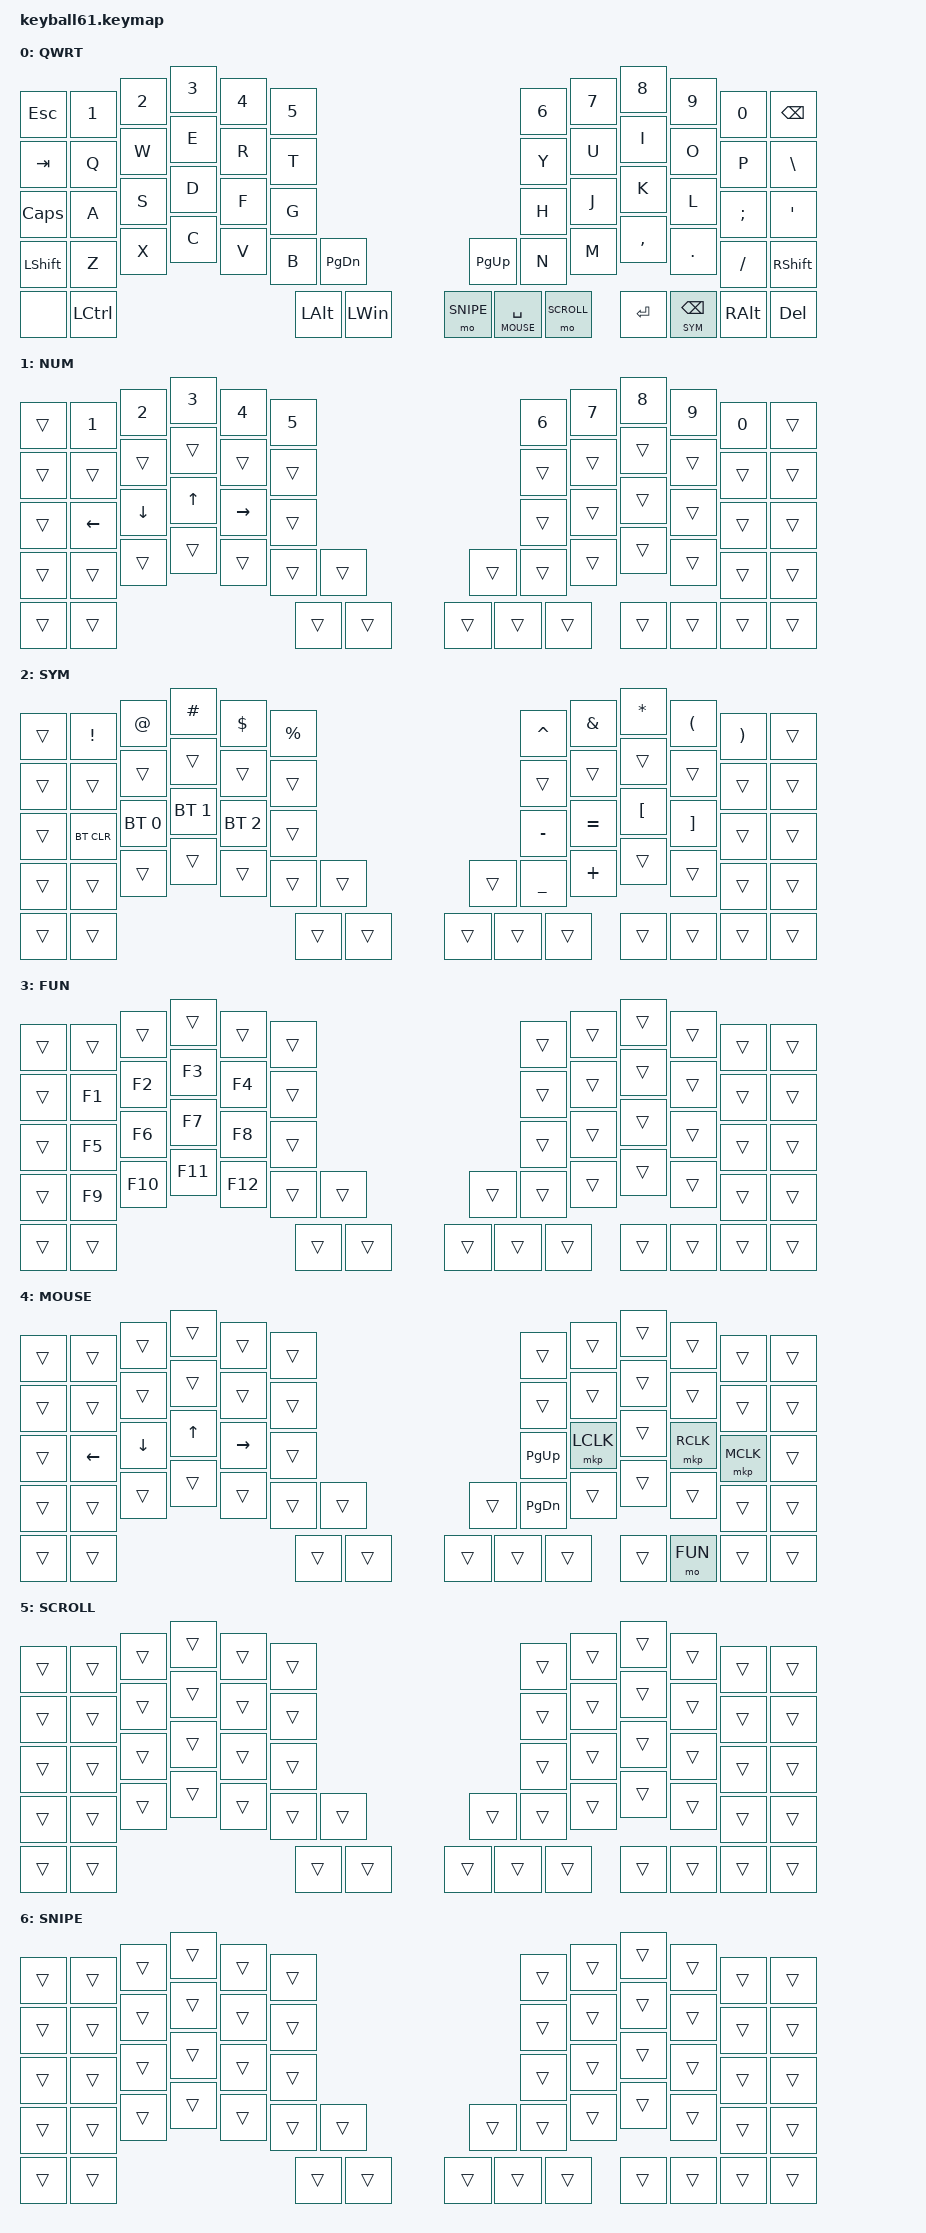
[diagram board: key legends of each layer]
#define DEFAULT 0
#define NUM     1
#define SYM     2
#define FUN     3
#define MOUSE   4
#define SCROLL  5
#define SNIPE   6

#include <behaviors/mouse_keys.dtsi>
#include <behaviors.dtsi>
#include <behaviors/runtime_macro.dtsi>
#include <dt-bindings/zmk/bt.h>
#include <dt-bindings/zmk/keys.h>
#include <dt-bindings/zmk/mouse.h>
#include <dt-bindings/zmk/pointing.h>
#include <dt-bindings/zmk/runtime_input_processor.h>
#include <dt-bindings/input/input-event-codes.h>

#include <behaviors/runtime-input-processor.dtsi>

&lt {
    tapping-term-ms = <240>;
    flavor = "balanced";
    quick-tap-ms = <150>;
};

&mt {
    tapping-term-ms = <200>;
    flavor = "tap-preferred";
    quick-tap-ms = <150>;
};

/ {
    keymap {
        compatible = "zmk,keymap";

        default_layer {
            label = "QWRT";
            bindings = <
&kp ESC         &kp N1     &kp N2        &kp N3        &kp N4  &kp N5                                   &kp N6           &kp N7  &kp N8     &kp N9   &kp N0         &kp BSPC
&kp TAB         &kp Q      &kp W         &kp E         &kp R   &kp T                                    &kp Y            &kp U   &kp I      &kp O    &kp P          &kp BACKSLASH
&kp CAPS        &kp A      &kp S         &kp D         &kp F   &kp G                                    &kp H            &kp J   &kp K      &kp L    &kp SEMI       &kp SQT
&kp LEFT_SHIFT  &kp Z      &kp X         &kp C         &kp V   &kp B        &kp PAGE_DOWN  &kp PAGE_UP  &kp N            &kp M   &kp COMMA  &kp DOT  &kp FSLH       &kp RIGHT_SHIFT
&none           &kp LCTRL  &kp LEFT_ALT  &kp LEFT_WIN  &mo SNIPE   &lt MOUSE SPACE  &mo SCROLL          &kp ENTER    &lt SYM BACKSPACE                              &kp RIGHT_ALT  &kp DELETE
            >;
        };

        number_layer {
            bindings = <
&trans  &kp N1    &kp N2    &kp N3  &kp N4     &kp N5                  &kp N6  &kp N7  &kp N8  &kp N9  &kp N0  &trans
&trans  &trans    &trans    &trans  &trans     &trans                  &trans  &trans  &trans  &trans  &trans  &trans
&trans  &kp LEFT  &kp DOWN  &kp UP  &kp RIGHT  &trans                  &trans  &trans  &trans  &trans  &trans  &trans
&trans  &trans    &trans    &trans  &trans     &trans  &trans  &trans  &trans  &trans  &trans  &trans  &trans  &trans
&trans  &trans    &trans    &trans  &trans     &trans  &trans  &trans  &trans                          &trans  &trans
            >;

            label = "NUM";
        };

        symbol_layer {
            label = "SYM";
            bindings = <
&trans  &kp EXCLAMATION  &kp AT_SIGN   &kp HASH      &kp DOLLAR    &kp PERCENT                  &kp CARET       &kp AMPERSAND  &kp ASTERISK      &kp LEFT_PARENTHESIS  &kp RIGHT_PARENTHESIS  &trans
&trans  &trans           &trans        &trans        &trans        &trans                       &trans          &trans         &trans            &trans                &trans                 &trans
&trans  &bt BT_CLR       &bt BT_SEL 0  &bt BT_SEL 1  &bt BT_SEL 2  &trans                       &kp MINUS       &kp EQUAL      &kp LEFT_BRACKET  &kp RIGHT_BRACKET     &trans                 &trans
&trans  &trans           &trans        &trans        &trans        &trans       &trans  &trans  &kp UNDERSCORE  &kp PLUS       &trans            &trans                &trans                 &trans
&trans  &trans           &trans        &trans        &trans        &trans       &trans  &trans  &trans                                                                 &trans                 &trans
            >;
        };

        function_layer {
            label = "FUN";
            bindings = <
&trans  &trans  &trans   &trans   &trans   &trans                  &trans  &trans  &trans  &trans  &trans  &trans
&trans  &kp F1  &kp F2   &kp F3   &kp F4   &trans                  &trans  &trans  &trans  &trans  &trans  &trans
&trans  &kp F5  &kp F6   &kp F7   &kp F8   &trans                  &trans  &trans  &trans  &trans  &trans  &trans
&trans  &kp F9  &kp F10  &kp F11  &kp F12  &trans  &trans  &trans  &trans  &trans  &trans  &trans  &trans  &trans
&trans  &trans  &trans   &trans   &trans   &trans  &trans  &trans  &trans                          &trans  &trans
            >;
        };

        mouse_layer {
            label = "MOUSE";
            bindings = <
&trans  &trans    &trans    &trans  &trans     &trans                  &trans         &trans     &trans  &trans     &trans     &trans
&trans  &trans    &trans    &trans  &trans     &trans                  &trans         &trans     &trans  &trans     &trans     &trans
&trans  &kp LEFT  &kp DOWN  &kp UP  &kp RIGHT  &trans                  &kp PAGE_UP    &mkp LCLK  &trans  &mkp RCLK  &mkp MCLK  &trans
&trans  &trans    &trans    &trans  &trans     &trans  &trans  &trans  &kp PAGE_DOWN  &trans     &trans  &trans     &trans     &trans
&trans  &trans    &trans    &trans  &trans     &trans  &trans  &trans  &mo FUN                                        &trans     &trans
            >;
        };

        scroll_layer {
            label = "SCROLL";
            bindings = <
&trans  &trans  &trans  &trans  &trans  &trans                  &trans  &trans  &trans  &trans  &trans  &trans
&trans  &trans  &trans  &trans  &trans  &trans                  &trans  &trans  &trans  &trans  &trans  &trans
&trans  &trans  &trans  &trans  &trans  &trans                  &trans  &trans  &trans  &trans  &trans  &trans
&trans  &trans  &trans  &trans  &trans  &trans  &trans  &trans  &trans  &trans  &trans  &trans  &trans  &trans
&trans  &trans  &trans  &trans  &trans  &trans  &trans  &trans  &trans                          &trans  &trans
            >;
        };

        snipe_layer {
            label = "SNIPE";
            bindings = <
&trans  &trans  &trans  &trans  &trans  &trans                  &trans  &trans  &trans  &trans  &trans  &trans
&trans  &trans  &trans  &trans  &trans  &trans                  &trans  &trans  &trans  &trans  &trans  &trans
&trans  &trans  &trans  &trans  &trans  &trans                  &trans  &trans  &trans  &trans  &trans  &trans
&trans  &trans  &trans  &trans  &trans  &trans  &trans  &trans  &trans  &trans  &trans  &trans  &trans  &trans
&trans  &trans  &trans  &trans  &trans  &trans  &trans  &trans  &trans                          &trans  &trans
            >;
        };
    };
};


&mouse_runtime_input_processor {
    temp-layer-enabled;
    temp-layer = <4>;
    temp-layer-activation-delay-ms = <200>;
    temp-layer-deactivation-delay-ms = <400>;
};

&scroll_runtime_input_processor {
    active-layers = <BIT(5)>;
    x-codes = <INPUT_REL_X>;
    y-codes = <INPUT_REL_Y>;
    xy-to-scroll-enabled;
    axis-snap-threshold = <100>;
};

&trackball {
    cpi = <800>;
};

